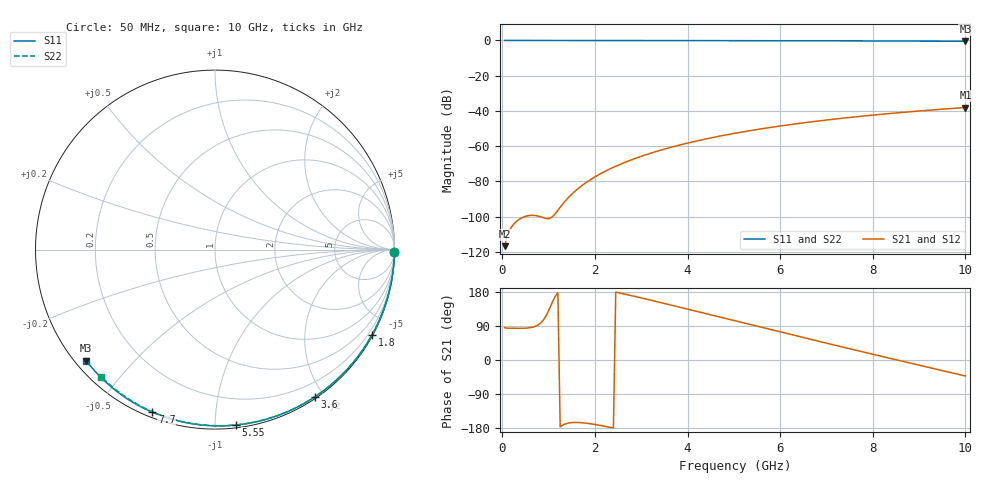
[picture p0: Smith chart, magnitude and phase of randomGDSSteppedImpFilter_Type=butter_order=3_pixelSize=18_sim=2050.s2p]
! freq	dB(S11)	phase(S11)	dB(S12)	phase(S12)
!  dB(S21)	phase(S21)	dB(S22)	phase(S22)
!S-par simulation data
#  GHz  S  DB  R 50
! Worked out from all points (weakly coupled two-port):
!   200 points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, 50 MHz to 10 GHz, reference 50 ohm
!   highest |S21| = -38.09 dB at 10 GHz (marker M1); lowest = -116.9 dB at 50 MHz (marker M2)
!   lowest |S11| = -0.5 dB at 10 GHz (marker M3), VSWR 36.78, Z = 1.55 - j18.6 ohm
!   |S11| at or under -10 dB: nowhere
!   |S22| runs from -0.4 to 0.0 dB; largest |S21 - S12| = 0
!   S11 on the Smith chart (normalised r, x): 50 MHz: open; 1.8 GHz: 0.03, -3.92; 3.6 GHz: 0.02, -1.89; 5.55 GHz: 0.02, -1.13; 7.7 GHz: 0.02, -0.69; 10 GHz: 0.03, -0.37
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0.05  -0.00 -0.8  -116.85 85.3  -116.85 85.3  -0.00 -0.8
0.45  -0.01 -7.3  -100.40 83.7  -100.40 83.7  -0.01 -6.9
0.9  -0.02 -14.4  -100.82 107.6  -100.82 107.6  -0.02 -13.7
1.75  -0.04 -27.8  -81.81 -165.9  -81.81 -165.9  -0.03 -26.3
1.8  -0.04 -28.6  -80.87 -166.6  -80.87 -166.6  -0.03 -27.0
1.85  -0.04 -29.4  -79.97 -167.3  -79.97 -167.3  -0.04 -27.8
2  -0.04 -31.7  -77.50 -170.1  -77.50 -170.1  -0.04 -30.0
2.15  -0.04 -34.0  -75.27 -173.4  -75.27 -173.4  -0.04 -32.2
2.35  -0.05 -37.1  -72.64 -178.3  -72.64 -178.3  -0.05 -35.1
2.55  -0.05 -40.1  -70.29 176.5  -70.29 176.5  -0.05 -38.0
2.95  -0.06 -46.2  -66.26 165.3  -66.26 165.3  -0.06 -43.7
3.4  -0.07 -52.9  -62.47 152.2  -62.47 152.2  -0.07 -50.1
3.6  -0.08 -55.8  -60.99 146.2  -60.99 146.2  -0.07 -52.9
4.3  -0.09 -65.9  -56.50 125.2  -56.50 125.2  -0.09 -62.5
5.05  -0.12 -76.4  -52.59 102.6  -52.59 102.6  -0.11 -72.5
5.55  -0.14 -83.2  -50.38 87.6  -50.38 87.6  -0.13 -78.9
6.1  -0.16 -90.6  -48.22 71.1  -48.22 71.1  -0.15 -85.9
6.7  -0.19 -98.4  -46.14 53.2  -46.14 53.2  -0.18 -93.3
7.7  -0.25 -111.1  -43.19 23.9  -43.19 23.9  -0.24 -105.3
8.35  -0.31 -119.1  -41.54 5.0  -41.54 5.0  -0.29 -113.0
9.2  -0.38 -129.5  -39.65 -19.4  -39.65 -19.4  -0.36 -122.7
10  -0.47 -139.2  -38.09 -42.2  -38.09 -42.2  -0.45 -131.8
